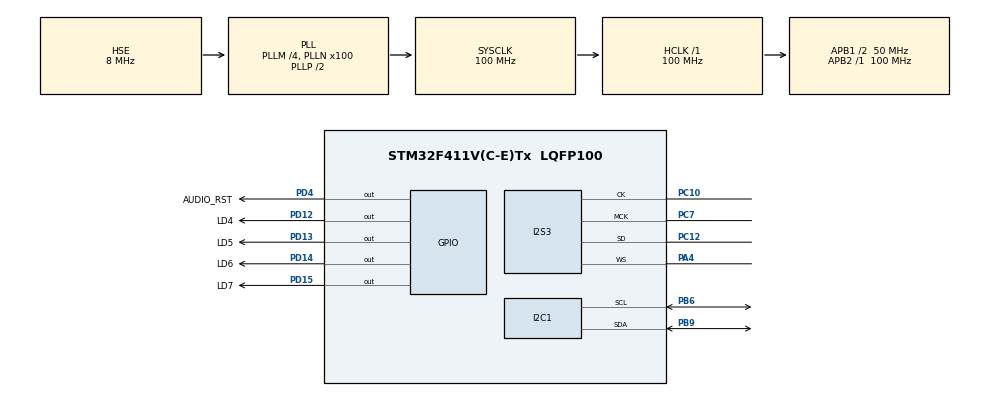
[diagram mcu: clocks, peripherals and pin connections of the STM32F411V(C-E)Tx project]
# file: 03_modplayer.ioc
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Dma.Request0=SPI3_TX
Dma.SPI3_TX.0.Direction=DMA_MEMORY_TO_PERIPH
Dma.SPI3_TX.0.FIFOMode=DMA_FIFOMODE_DISABLE
Dma.SPI3_TX.0.Instance=DMA1_Stream5
Dma.SPI3_TX.0.MemDataAlignment=DMA_MDATAALIGN_HALFWORD
Dma.SPI3_TX.0.MemInc=DMA_MINC_ENABLE
Dma.SPI3_TX.0.Mode=DMA_CIRCULAR
Dma.SPI3_TX.0.PeriphDataAlignment=DMA_PDATAALIGN_HALFWORD
Dma.SPI3_TX.0.PeriphInc=DMA_PINC_DISABLE
Dma.SPI3_TX.0.Priority=DMA_PRIORITY_LOW
I2S3.AudioFreq=I2S_AUDIOFREQ_22K
I2S3.ErrorAudioFreq=0.14 %
I2S3.FullDuplexMode=I2S_FULLDUPLEXMODE_DISABLE
I2S3.Instance=SPI$Index
I2S3.RealAudioFreq=22.031 KHz
I2S3.VirtualMode=I2S_MODE_MASTER
Mcu.Family=STM32F4
Mcu.Name=STM32F411V(C-E)Tx
Mcu.Package=LQFP100
NVIC.DMA1_Stream5_IRQn=true\:0\:0\:false\:false\:true\:false\:true
NVIC.PriorityGroup=NVIC_PRIORITYGROUP_4
NVIC.SPI3_IRQn=true\:0\:0\:false\:false\:true\:true\:true
PA13.Mode=Serial_Wire
PA13.Signal=SYS_JTMS-SWDIO
PA14.Mode=Serial_Wire
PA14.Signal=SYS_JTCK-SWCLK
PA4.GPIO_Speed=GPIO_SPEED_FREQ_HIGH
PA4.Mode=Half_Duplex_Master
PA4.Signal=I2S3_WS
PB6.Mode=I2C
PB6.Signal=I2C1_SCL
PB9.Mode=I2C
PB9.Signal=I2C1_SDA
PC10.GPIO_Speed=GPIO_SPEED_FREQ_HIGH
PC10.Mode=Half_Duplex_Master
PC10.Signal=I2S3_CK
PC12.GPIO_Speed=GPIO_SPEED_FREQ_HIGH
PC12.Mode=Half_Duplex_Master
PC12.Signal=I2S3_SD
PC7.GPIO_Speed=GPIO_SPEED_FREQ_HIGH
PC7.Mode=Master_Clock_Activated
PC7.Signal=I2S3_MCK
PD12.GPIO_Label=LD4
PD12.Signal=GPIO_Output
PD13.GPIO_Label=LD5
PD13.Signal=GPIO_Output
PD14.GPIO_Label=LD6
PD14.Signal=GPIO_Output
PD15.GPIO_Label=LD7
PD15.Signal=GPIO_Output
PD4.GPIO_Label=AUDIO_RST
PD4.Signal=GPIO_Output
PH0\ -\ OSC_IN.Mode=HSE-External-Oscillator
PH0\ -\ OSC_IN.Signal=RCC_OSC_IN
PH1\ -\ OSC_OUT.Mode=HSE-External-Oscillator
PH1\ -\ OSC_OUT.Signal=RCC_OSC_OUT
ProjectManager.HeapSize=0x200
ProjectManager.StackSize=0x400
ProjectManager.TargetToolchain=STM32CubeIDE
RCC.48MHZClocksFreq_Value=50000000
RCC.AHBFreq_Value=100000000
RCC.APB1CLKDivider=RCC_HCLK_DIV2
RCC.APB1Freq_Value=50000000
RCC.APB1TimFreq_Value=100000000
RCC.APB2Freq_Value=100000000
RCC.APB2TimFreq_Value=100000000
RCC.CortexFreq_Value=100000000
RCC.HCLKFreq_Value=100000000
RCC.HSE_VALUE=8000000
RCC.HSI_VALUE=16000000
RCC.LSE_VALUE=32768
RCC.PLLI2SM=5
RCC.PLLI2SN=141
RCC.PLLM=4
RCC.PLLN=100
RCC.PLLSourceVirtual=RCC_PLLSOURCE_HSE
RCC.SYSCLKFreq_VALUE=100000000
RCC.SYSCLKSource=RCC_SYSCLKSOURCE_PLLCLK
RCC.VCOOutputFreq_Value=200000000
board=custom

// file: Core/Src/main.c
/* USER CODE BEGIN Header */
/**
  ******************************************************************************
  * @file           : main.c
  * @brief          : Main program body
  ******************************************************************************
  * @attention
  *
  * <h2><center>&copy; Copyright (c) 2020 STMicroelectronics.
  * All rights reserved.</center></h2>
  *
  * This software component is licensed by ST under BSD 3-Clause license,
  * the "License"; You may not use this file except in compliance with the
  * License. You may obtain a copy of the License at:
  *                        opensource.org/licenses/BSD-3-Clause
  *
  ******************************************************************************
  */
/* USER CODE END Header */

#include "main.h"

/* USER CODE BEGIN Includes */

#include "hxcmod.h"
#include "minimalic_mod.h"

#define BUFFER_SIZE		4096

#define AUDIO_I2C_ADDR	0x94

static int16_t audio_data[2 * BUFFER_SIZE];
static modcontext modctx;

void HAL_I2S_TxHalfCpltCallback(I2S_HandleTypeDef *hi2s)
{
	  hxcmod_fillbuffer(&modctx, audio_data, BUFFER_SIZE / 2, NULL);
}

void HAL_I2S_TxCpltCallback(I2S_HandleTypeDef *hi2s)
{
	  hxcmod_fillbuffer(&modctx, audio_data + BUFFER_SIZE, BUFFER_SIZE / 2, NULL);
}

/* USER CODE END Includes */

I2C_HandleTypeDef hi2c1;

I2S_HandleTypeDef hi2s3;
DMA_HandleTypeDef hdma_spi3_tx;

void SystemClock_Config(void);
static void MX_GPIO_Init(void);
static void MX_DMA_Init(void);
static void MX_I2S3_Init(void);
static void MX_I2C1_Init(void);

/* USER CODE BEGIN 0 */

static void cs43l22_write(uint8_t reg, uint8_t value)
{
	HAL_I2C_Mem_Write(&hi2c1, AUDIO_I2C_ADDR, reg, 1, &value, sizeof(value), HAL_MAX_DELAY);
}

static void cs43l22_init(void)
{
	HAL_GPIO_WritePin(AUDIO_RST_GPIO_Port, AUDIO_RST_Pin, GPIO_PIN_SET);

	cs43l22_write(0x04, 0xaf);
	cs43l22_write(0x06, 0x07);
	cs43l22_write(0x02, 0x9e);
}

/* USER CODE END 0 */

int main(void)
{

  /* MCU Configuration--------------------------------------------------------*/

  /* Reset of all peripherals, Initializes the Flash interface and the Systick. */
  HAL_Init();

  /* Configure the system clock */
  SystemClock_Config();

  /* Initialize all configured peripherals */
  MX_GPIO_Init();
  MX_DMA_Init();
  MX_I2S3_Init();
  MX_I2C1_Init();
  /* USER CODE BEGIN 2 */

  cs43l22_init();

  hxcmod_init(&modctx);
  hxcmod_setcfg(&modctx, 22000, 0, 0);
  hxcmod_load(&modctx, (void*)minimalistic_mod, minimalistic_mod_size);

  hxcmod_fillbuffer(&modctx, audio_data, BUFFER_SIZE, NULL);

  HAL_I2S_Transmit_DMA(&hi2s3, (uint16_t*)audio_data, BUFFER_SIZE * 2);

  /* USER CODE END 2 */

  /* Infinite loop */
  while (1)
  {

  }
}

void SystemClock_Config(void)
{
  RCC_OscInitTypeDef RCC_OscInitStruct = {0};
  RCC_ClkInitTypeDef RCC_ClkInitStruct = {0};
  RCC_PeriphCLKInitTypeDef PeriphClkInitStruct = {0};

  /** Configure the main internal regulator output voltage
  */
  __HAL_RCC_PWR_CLK_ENABLE();
  __HAL_PWR_VOLTAGESCALING_CONFIG(PWR_REGULATOR_VOLTAGE_SCALE1);
  /** Initializes the CPU, AHB and APB busses clocks
  */
  RCC_OscInitStruct.OscillatorType = RCC_OSCILLATORTYPE_HSE;
  RCC_OscInitStruct.HSEState = RCC_HSE_ON;
  RCC_OscInitStruct.PLL.PLLState = RCC_PLL_ON;
  RCC_OscInitStruct.PLL.PLLSource = RCC_PLLSOURCE_HSE;
  RCC_OscInitStruct.PLL.PLLM = 4;
  RCC_OscInitStruct.PLL.PLLN = 100;
  RCC_OscInitStruct.PLL.PLLP = RCC_PLLP_DIV2;
  RCC_OscInitStruct.PLL.PLLQ = 4;
  if (HAL_RCC_OscConfig(&RCC_OscInitStruct) != HAL_OK)
  {
    Error_Handler();
  }
  /** Initializes the CPU, AHB and APB busses clocks
  */
  RCC_ClkInitStruct.ClockType = RCC_CLOCKTYPE_HCLK|RCC_CLOCKTYPE_SYSCLK
                              |RCC_CLOCKTYPE_PCLK1|RCC_CLOCKTYPE_PCLK2;
  RCC_ClkInitStruct.SYSCLKSource = RCC_SYSCLKSOURCE_PLLCLK;
  RCC_ClkInitStruct.AHBCLKDivider = RCC_SYSCLK_DIV1;
  RCC_ClkInitStruct.APB1CLKDivider = RCC_HCLK_DIV2;
  RCC_ClkInitStruct.APB2CLKDivider = RCC_HCLK_DIV1;

  if (HAL_RCC_ClockConfig(&RCC_ClkInitStruct, FLASH_LATENCY_3) != HAL_OK)
  {
    Error_Handler();
  }
  PeriphClkInitStruct.PeriphClockSelection = RCC_PERIPHCLK_I2S;
  PeriphClkInitStruct.PLLI2S.PLLI2SN = 141;
  PeriphClkInitStruct.PLLI2S.PLLI2SM = 5;
  PeriphClkInitStruct.PLLI2S.PLLI2SR = 2;
  if (HAL_RCCEx_PeriphCLKConfig(&PeriphClkInitStruct) != HAL_OK)
  {
    Error_Handler();
  }
}

static void MX_I2C1_Init(void)
{

  hi2c1.Instance = I2C1;
  hi2c1.Init.ClockSpeed = 100000;
  hi2c1.Init.DutyCycle = I2C_DUTYCYCLE_2;
  hi2c1.Init.OwnAddress1 = 0;
  hi2c1.Init.AddressingMode = I2C_ADDRESSINGMODE_7BIT;
  hi2c1.Init.DualAddressMode = I2C_DUALADDRESS_DISABLE;
  hi2c1.Init.OwnAddress2 = 0;
  hi2c1.Init.GeneralCallMode = I2C_GENERALCALL_DISABLE;
  hi2c1.Init.NoStretchMode = I2C_NOSTRETCH_DISABLE;
  if (HAL_I2C_Init(&hi2c1) != HAL_OK)
  {
    Error_Handler();
  }

}

static void MX_I2S3_Init(void)
{

  hi2s3.Instance = SPI3;
  hi2s3.Init.Mode = I2S_MODE_MASTER_TX;
  hi2s3.Init.Standard = I2S_STANDARD_PHILIPS;
  hi2s3.Init.DataFormat = I2S_DATAFORMAT_16B;
  hi2s3.Init.MCLKOutput = I2S_MCLKOUTPUT_ENABLE;
  hi2s3.Init.AudioFreq = I2S_AUDIOFREQ_22K;
  hi2s3.Init.CPOL = I2S_CPOL_LOW;
  hi2s3.Init.ClockSource = I2S_CLOCK_PLL;
  hi2s3.Init.FullDuplexMode = I2S_FULLDUPLEXMODE_DISABLE;
  if (HAL_I2S_Init(&hi2s3) != HAL_OK)
  {
    Error_Handler();
  }

}

static void MX_DMA_Init(void)
{

  /* DMA controller clock enable */
  __HAL_RCC_DMA1_CLK_ENABLE();

  /* DMA interrupt init */
  /* DMA1_Stream5_IRQn interrupt configuration */
  HAL_NVIC_SetPriority(DMA1_Stream5_IRQn, 0, 0);
  HAL_NVIC_EnableIRQ(DMA1_Stream5_IRQn);

}

static void MX_GPIO_Init(void)
{
  GPIO_InitTypeDef GPIO_InitStruct = {0};

  /* GPIO Ports Clock Enable */
  __HAL_RCC_GPIOH_CLK_ENABLE();
  __HAL_RCC_GPIOA_CLK_ENABLE();
  __HAL_RCC_GPIOD_CLK_ENABLE();
  __HAL_RCC_GPIOC_CLK_ENABLE();
  __HAL_RCC_GPIOB_CLK_ENABLE();

  /*Configure GPIO pin Output Level */
  HAL_GPIO_WritePin(GPIOD, LD4_Pin|LD5_Pin|LD6_Pin|LD7_Pin
                          |AUDIO_RST_Pin, GPIO_PIN_RESET);

  /*Configure GPIO pins : LD4_Pin LD5_Pin LD6_Pin LD7_Pin
                           AUDIO_RST_Pin */
  GPIO_InitStruct.Pin = LD4_Pin|LD5_Pin|LD6_Pin|LD7_Pin
                          |AUDIO_RST_Pin;
  GPIO_InitStruct.Mode = GPIO_MODE_OUTPUT_PP;
  GPIO_InitStruct.Pull = GPIO_NOPULL;
  GPIO_InitStruct.Speed = GPIO_SPEED_FREQ_LOW;
  HAL_GPIO_Init(GPIOD, &GPIO_InitStruct);

}

void Error_Handler(void)
{
}

/************************ (C) COPYRIGHT STMicroelectronics *****END OF FILE****/
